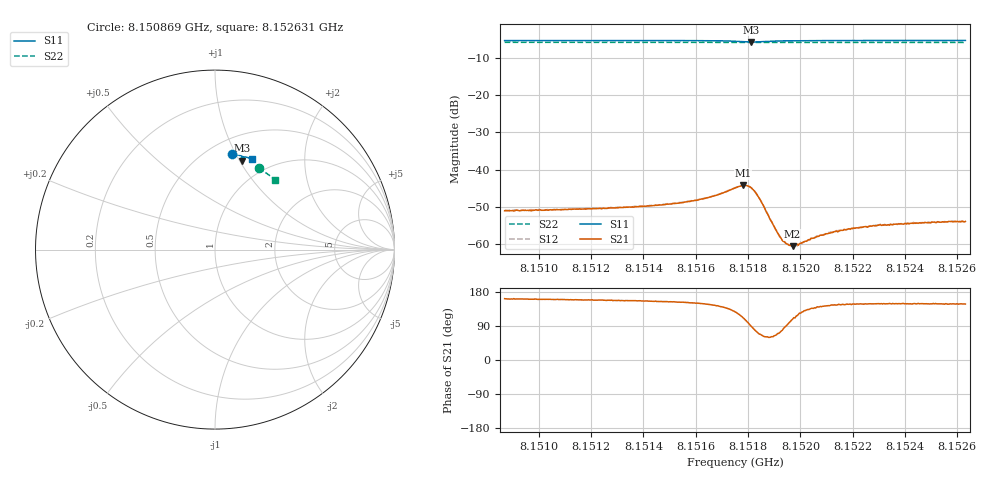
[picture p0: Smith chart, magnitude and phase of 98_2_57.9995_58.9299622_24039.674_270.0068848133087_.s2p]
#  HZ  S  RI  R  50.00
! Rohde & Schwarz Vector Network Analyzer
! Rohde-Schwarz,ZNB20-2Port,1311601062101988,3.16
! Created: UTC 3/21/2024, 12:54:41 AM
! freq[Hz]  re:S11  im:S11  re:S21  im:S21  re:S12  im:S12  re:S22  im:S22
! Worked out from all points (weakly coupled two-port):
!   401 points, 8.150869 GHz to 8.152631 GHz, reference 50 ohm
!   highest |S21| = -44.25 dB at 8.151781 GHz (marker M1); lowest = -60.6 dB at 8.15197 GHz (marker M2)
!   lowest |S11| = -5.7 dB at 8.151812 GHz (marker M3), VSWR 3.15, Z = 37.7 + j51.3 ohm
!   |S11| at or under -10 dB: nowhere
!   |S22| runs from -5.8 to -5.8 dB; largest |S21 - S12| = 0.00013
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8.1508691e9  0.094 0.5344  -0.00266 0.000874  -0.00264 0.000988  0.243 0.4537
8.1511642e9  0.1153 0.5306  -0.00275 0.00108  -0.00276 0.00112  0.2593 0.444
8.1514593e9  0.1371 0.5254  -0.00302 0.00146  -0.00301 0.0015  0.2754 0.4336
8.151543e9  0.1437 0.5232  -0.00318 0.00166  -0.00317 0.00172  0.2798 0.4306
8.1516355e9  0.1519 0.5196  -0.00348 0.00218  -0.00346 0.00225  0.2849 0.4271
8.15175e9  0.1617 0.5067  -0.00345 0.00451  -0.0034 0.0046  0.2907 0.4224
8.1517809e9  0.1594 0.4995  -0.00226 0.0057  -0.0022 0.00577  0.292 0.4212
8.1517985e9  0.1548 0.4965  -0.000995 0.00595  -0.000925 0.00602  0.2928 0.4204
8.1518117e9  0.1503 0.4964  8.8e-05 0.00571  0.00015 0.00574  0.2933 0.4202
8.1518293e9  0.1456 0.4997  0.00112 0.00474  0.00122 0.00477  0.294 0.4195
8.1518469e9  0.1437 0.5045  0.00149 0.00362  0.00155 0.00358  0.2948 0.4192
8.1518954e9  0.1482 0.5136  0.000871 0.00161  0.000866 0.00162  0.2976 0.4176
8.1519262e9  0.1524 0.5159  0.000289 0.00117  0.000307 0.00116  0.2994 0.4166
8.1519526e9  0.1559 0.5168  -9.15e-05 0.000988  -7.21e-05 0.00098  0.3007 0.4156
8.1519703e9  0.1579 0.517  -0.000283 0.000893  -0.000301 0.000918  0.3016 0.4149
8.1519967e9  0.1609 0.5171  -0.000565 0.000842  -0.000523 0.000845  0.303 0.4137
8.1520451e9  0.1656 0.5164  -0.000867 0.000821  -0.000852 0.000801  0.3056 0.4119
8.1521068e9  0.1709 0.5155  -0.00112 0.000824  -0.00114 0.000863  0.3088 0.4095
8.1521464e9  0.1742 0.5148  -0.00124 0.000809  -0.00124 0.000886  0.3108 0.4079
8.1522433e9  0.1815 0.5128  -0.00144 0.000923  -0.00142 0.000932  0.3156 0.4041
8.1523402e9  0.1887 0.5106  -0.00154 0.000917  -0.00155 0.000949  0.3204 0.4
8.1526309e9  0.2085 0.5036  -0.0017 0.00107  -0.00172 0.00113  0.3345 0.3878
